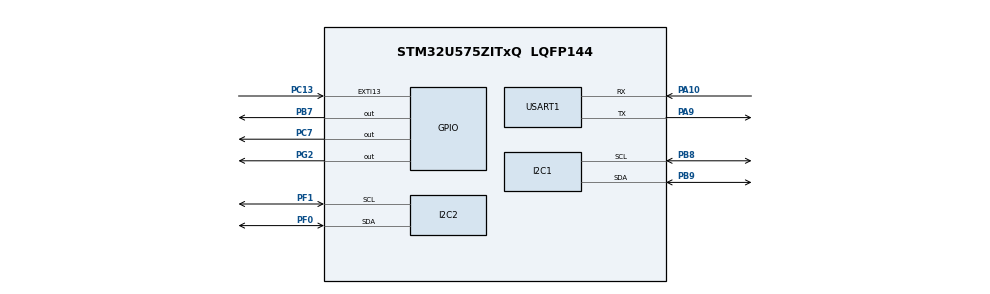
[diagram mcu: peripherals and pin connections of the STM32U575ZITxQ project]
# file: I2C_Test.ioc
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CORTEX_M33_NS.userName=CORTEX_M33
I2C1.Timing=0x00000E14
I2C2.Timing=0x00000E14
Mcu.Family=STM32U5
Mcu.Name=STM32U575ZITxQ
Mcu.Package=LQFP144
NUCLEO-U575ZI-Q.BUTTON=1
NUCLEO-U575ZI-Q.LD1=true
NUCLEO-U575ZI-Q.LD2=true
NUCLEO-U575ZI-Q.LD3=true
NUCLEO-U575ZI-Q.VCP=false
NVIC.EXTI13_IRQn=true\:0\:0\:false\:false\:true\:false\:true\:true
NVIC.I2C1_ER_IRQn=true\:0\:0\:false\:false\:true\:true\:true\:true
NVIC.I2C1_EV_IRQn=true\:0\:0\:false\:false\:true\:true\:true\:true
NVIC.PriorityGroup=NVIC_PRIORITYGROUP_3
NVIC.TIM17_IRQn=true\:7\:0\:false\:false\:true\:false\:true\:true
NVIC.TimeBase=TIM17_IRQn
NVIC.TimeBaseIP=TIM17
NVIC.USART1_IRQn=true\:0\:0\:false\:false\:true\:true\:true\:true
PA10.Mode=Asynchronous
PA10.Signal=USART1_RX
PA13\ (JTMS/SWDIO).Signal=DEBUG_JTMS-SWDIO
PA14\ (JTCK/SWCLK).Signal=DEBUG_JTCK-SWCLK
PA9.Mode=Asynchronous
PA9.Signal=USART1_TX
PB3\ (JTDO/TRACESWO).Signal=DEBUG_JTDO-SWO
PB7.Signal=GPIO_Output
PB8.Mode=I2C
PB8.Signal=I2C1_SCL
PB9.Mode=I2C
PB9.Signal=I2C1_SDA
PC13.Signal=GPXTI13
PC14-OSC32_IN\ (PC14).Signal=RCC_OSC32_IN
PC15-OSC32_OUT\ (PC15).Signal=RCC_OSC32_OUT
PC7.Signal=GPIO_Output
PF0.Mode=I2C
PF0.Signal=I2C2_SDA
PF1.Mode=I2C
PF1.Signal=I2C2_SCL
PG2.Signal=GPIO_Output
PWR.PowerMode=PWR_SMPS_SUPPLY
ProjectManager.HeapSize=0x200
ProjectManager.StackSize=0x400
ProjectManager.TargetToolchain=STM32CubeIDE
RCC.ADCFreq_Value=16000000
RCC.DACCLockSelectionVirtual=RCC_DAC1CLKSOURCE_LSI
RCC.EPOD_VALUE=4000000
RCC.HSE_VALUE=16000000
RCC.HSI48_VALUE=48000000
RCC.HSI_VALUE=16000000
RCC.I2C1CLockSelection=RCC_I2C1CLKSOURCE_SYSCLK
RCC.I2C2CLockSelection=RCC_I2C2CLKSOURCE_SYSCLK
RCC.LSE_VALUE=32768
RCC.LSIDIV_VALUE=32000
RCC.MSI_VALUE=4000000
RCC.USBFreq_Value=48000000
RCC.VCOOutputFreq_Value=516000000
USART1.VirtualMode-Asynchronous=VM_ASYNC
VP_ICACHE_VS_ENABLE_ICACHE_MEMORY.Mode=Memoryregions
VP_ICACHE_VS_ICACHE.Mode=DirectMappedCache
VP_LPBAMQUEUE_VS_QUEUE.Mode=QUEUEMODE
VP_LPBAM_VS_SIG1.Mode=SmartRun
VP_LPBAM_VS_SIG4.Mode=LPDMA1
VP_MEMORYMAP_VS_MEMORYMAP.Mode=CurAppReg
VP_NUCLEO-U575ZI-Q_VS_BSP_COMMON.Mode=COMMON
VP_PWR_VS_DBSignals.Mode=DisableDeadBatterySignals
VP_PWR_VS_LPOM.Mode=PowerOptimisation
VP_PWR_VS_SECSignals.Mode=Security/Privilege
VP_SYS_VS_tim17.Mode=TIM17
board=NUCLEO-U575ZI-Q

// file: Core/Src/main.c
/* USER CODE BEGIN Header */
/**
  ******************************************************************************
  * @file           : main.c
  * @brief          : Main program body
  ******************************************************************************
  * @attention
  *
  * Copyright (c) 2026 STMicroelectronics.
  * All rights reserved.
  *
  * This software is licensed under terms that can be found in the LICENSE file
  * in the root directory of this software component.
  * If no LICENSE file comes with this software, it is provided AS-IS.
  *
  ******************************************************************************
  */
/* USER CODE END Header */
#include "main.h"

/* USER CODE BEGIN Includes */

#include <math.h>
#include <stdarg.h>
#include <stdbool.h>
#include <stdint.h>
#include <stdio.h>
#include <stdlib.h>
#include <string.h>

#include "bno055.h"
#include "bno_config.h"
#include "stm32u5xx_hal.h"
#include "stm32u5xx_hal_gpio.h"
#include "stm32u5xx_hal_gpio_ex.h"

#include "stm32u5xx.h"
#include "msoe_stm_clock.h"
#include <stdio.h>

// Constants
#define TMP102_I2C_ADDR 0x48
#define I2C_TIMING_100KHZ 0x10C0ECFF
#define SINE_SAMPLES 32
#define SYSCLK_HZ 160000000
// Globals
uint16_t sine_table[SINE_SAMPLES] = {
2048, 2447, 2831, 3185, 3495, 3750, 3939, 4056,
 4095, 4056, 3939, 3750, 3495, 3185, 2831, 2447,
2048, 1648, 1264, 910, 600, 345, 156, 39,
0, 39, 156, 345, 600, 910, 1264, 1648
};
uint8_t sine_index = 0;
/* USER CODE END Includes */

I2C_HandleTypeDef hi2c1;
I2C_HandleTypeDef hi2c2;

UART_HandleTypeDef huart1;

/* USER CODE BEGIN PV */

bno055_t bno;
error_bno err;

/* USER CODE END PV */

void SystemClock_Config(void);
static void SystemPower_Config(void);
static void MX_GPIO_Init(void);
static void MX_ICACHE_Init(void);
static void MX_I2C1_Init(void);
static void MX_I2C2_Init(void);
static void MX_USART1_UART_Init(void);void I2C1_Init(void);
float TMP102_ReadTemp(void);
void DAC1_Init(void);
void TIM2_Init(uint32_t freq);

/* USER CODE BEGIN 0 */
static void print(const char *fmt, ...);

static void print(const char *fmt, ...) {
  static char buffer[256];
  va_list args;
  va_start(args, fmt);
  vsnprintf(buffer, sizeof(buffer), fmt, args);
  va_end(args);

  int len = strlen(buffer);
  HAL_UART_Transmit(&huart1, (uint8_t *)buffer, len, -1);
  return;
}
/* USER CODE END 0 */

int main(void)
{

  /* MCU Configuration--------------------------------------------------------*/

  /* Reset of all peripherals, Initializes the Flash interface and the Systick. */
  HAL_Init();

  /* Configure the System Power */
  SystemPower_Config();

  /* Configure the system clock */
  SystemClock_Config();

  /* Initialize all configured peripherals */
  MX_GPIO_Init();
  MX_ICACHE_Init();
  MX_I2C1_Init();
  MX_I2C2_Init();
  MX_USART1_UART_Init();

  /* Initialize leds */
  BSP_LED_Init(LED_GREEN);
  BSP_LED_Init(LED_BLUE);
  BSP_LED_Init(LED_RED);

  /* Initialize USER push-button, will be used to trigger an interrupt each time it's pressed.*/
  BSP_PB_Init(BUTTON_USER, BUTTON_MODE_EXTI);

  /* Infinite loop */
  /* USER CODE BEGIN WHILE */

// Function declarations

{
msoe_clk_setup(160);
I2C1_Init();
DAC1_Init();
TIM2_Init(100);
while (1)
{
float tempC = TMP102_ReadTemp();
// temp between 15–25°C
if (tempC < 15.0f) tempC = 15.0f;
if (tempC > 25.0f) tempC = 25.0f;
// Convert to f
float freqF = 100.0f + (tempC - 15.0f) * 200.0f;
uint32_t freq = (uint32_t)(freqF + 0.5f);
// Update ARR
uint32_t updateRate = freq * SINE_SAMPLES;
uint32_t arr = (SYSCLK_HZ / updateRate) - 1;
if (arr > 0xFFFF) arr = 0xFFFF;
TIM2->ARR = arr;
// Display on LCD

char buf[20];
int t10 = (int)(tempC * 10);
print("Temp = %d.%d C", t10 / 10, t10 % 10);
print("Freq = %4lu Hz", freq);
HAL_Delay(1000);
 }
return 0;
}
// LCD setup

}

// I2C setup
void I2C1_Init(void)
{
RCC->AHB2ENR1 |= (1 << 1); // GPIOB
RCC->APB1ENR1 |= (1 << 21); // I2C1
GPIOB->MODER &= ~((3 << (8 * 2)) | (3 << (9 * 2)));
GPIOB->MODER |= ((2 << (8 * 2)) | (2 << (9 * 2)));
GPIOB->OTYPER |= (1 << 8) | (1 << 9);
GPIOB->PUPDR &= ~((3 << (8 * 2)) | (3 << (9 * 2)));
GPIOB->PUPDR |= ((1 << (8 * 2)) | (1 << (9 * 2)));
GPIOB->AFR[1] &= ~(0xFF);
GPIOB->AFR[1] |= (0x44);
 I2C1->CR1 &= ~(1 << 0);
I2C1->TIMINGR = I2C_TIMING_100KHZ;
I2C1->CR1 |= (1 << 0); // Enable I2C
}
// TMP102
float TMP102_ReadTemp(void)
{
I2C1->CR2 = (TMP102_I2C_ADDR << 1) | (1 << 16) | (1 << 13); // 1 byte write, start
while (!(I2C1->ISR & (1 << 1))) {}
I2C1->TXDR = 0x00; // Temp
while (!(I2C1->ISR & (1 << 6))) {} // TC
I2C1->CR2 = (TMP102_I2C_ADDR << 1) | (1 << 10) | (2 << 16) | (1 << 25) | (1 << 13);
while (!(I2C1->ISR & (1 << 2))) {}
uint8_t msb = I2C1->RXDR;
while (!(I2C1->ISR & (1 << 2))) {}
uint8_t lsb = I2C1->RXDR;
while (!(I2C1->ISR & (1 << 5))) {}
I2C1->ICR |= (1 << 5);
int16_t raw = ((int16_t)msb << 4) | (lsb >> 4);
if (raw & 0x800) raw |= 0xF000;
return raw * 0.0625f;
}
// DAC setup (PA4 analog mode)
void DAC1_Init(void)
{
RCC->AHB2ENR1 |= (1 << 0);
RCC->AHB3ENR |= (1 << 6); // DAC1
GPIOA->MODER |= (3 << (4 * 2));
GPIOA->PUPDR &= ~(3 << (4 * 2));
DAC1->MCR |= (0b10 << 14);
DAC1->CR |= (1 << 0);
}
// Timer 2 setup (matches example style)
void TIM2_Init(uint32_t freq)
{
RCC->APB1ENR1 |= (1 << 0); // Enable TIM2
TIM2->CR1 = 0;
TIM2->PSC = 0;
TIM2->ARR = (SYSCLK_HZ / (freq * SINE_SAMPLES)) - 1;
if (TIM2->ARR > 0xFFFF) TIM2->ARR = 0xFFFF;
TIM2->CR1 |= (1 << 7);
TIM2->DIER |= (1 << 0);
TIM2->SR &= ~(1 << 0);
NVIC_EnableIRQ(TIM2_IRQn); //Enable TIM2 interrupt
 TIM2->CR1 |= (1 << 0);
}
// Timer 2 interrupt (style-matched)
void TIM2_IRQHandler(void)
{
TIM2->SR &= ~(1 << 0);
DAC1->DHR12R1 = sine_table[sine_index];
sine_index++;
if (sine_index >= SINE_SAMPLES)
sine_index = 0; // Loop
}

void SystemClock_Config(void)
{
  RCC_OscInitTypeDef RCC_OscInitStruct = {0};
  RCC_ClkInitTypeDef RCC_ClkInitStruct = {0};

  /** Configure the main internal regulator output voltage
  */
  if (HAL_PWREx_ControlVoltageScaling(PWR_REGULATOR_VOLTAGE_SCALE4) != HAL_OK)
  {
    Error_Handler();
  }

  /** Initializes the CPU, AHB and APB buses clocks
  */
  RCC_OscInitStruct.OscillatorType = RCC_OSCILLATORTYPE_MSI;
  RCC_OscInitStruct.MSIState = RCC_MSI_ON;
  RCC_OscInitStruct.MSICalibrationValue = RCC_MSICALIBRATION_DEFAULT;
  RCC_OscInitStruct.MSIClockRange = RCC_MSIRANGE_4;
  RCC_OscInitStruct.PLL.PLLState = RCC_PLL_NONE;
  if (HAL_RCC_OscConfig(&RCC_OscInitStruct) != HAL_OK)
  {
    Error_Handler();
  }

  /** Initializes the CPU, AHB and APB buses clocks
  */
  RCC_ClkInitStruct.ClockType = RCC_CLOCKTYPE_HCLK|RCC_CLOCKTYPE_SYSCLK
                              |RCC_CLOCKTYPE_PCLK1|RCC_CLOCKTYPE_PCLK2
                              |RCC_CLOCKTYPE_PCLK3;
  RCC_ClkInitStruct.SYSCLKSource = RCC_SYSCLKSOURCE_MSI;
  RCC_ClkInitStruct.AHBCLKDivider = RCC_SYSCLK_DIV1;
  RCC_ClkInitStruct.APB1CLKDivider = RCC_HCLK_DIV1;
  RCC_ClkInitStruct.APB2CLKDivider = RCC_HCLK_DIV1;
  RCC_ClkInitStruct.APB3CLKDivider = RCC_HCLK_DIV1;

  if (HAL_RCC_ClockConfig(&RCC_ClkInitStruct, FLASH_LATENCY_0) != HAL_OK)
  {
    Error_Handler();
  }
}

/**
  * @brief Power Configuration
  * @retval None
  */
static void SystemPower_Config(void)
{

  /*
   * Disable the internal Pull-Up in Dead Battery pins of UCPD peripheral
   */
  HAL_PWREx_DisableUCPDDeadBattery();

  /*
   * Switch to SMPS regulator instead of LDO
   */
  if (HAL_PWREx_ConfigSupply(PWR_SMPS_SUPPLY) != HAL_OK)
  {
    Error_Handler();
  }
}

static void MX_I2C1_Init(void)
{

  hi2c1.Instance = I2C1;
  hi2c1.Init.Timing = 0x00000E14;
  hi2c1.Init.OwnAddress1 = 0;
  hi2c1.Init.AddressingMode = I2C_ADDRESSINGMODE_7BIT;
  hi2c1.Init.DualAddressMode = I2C_DUALADDRESS_DISABLE;
  hi2c1.Init.OwnAddress2 = 0;
  hi2c1.Init.OwnAddress2Masks = I2C_OA2_NOMASK;
  hi2c1.Init.GeneralCallMode = I2C_GENERALCALL_DISABLE;
  hi2c1.Init.NoStretchMode = I2C_NOSTRETCH_DISABLE;
  if (HAL_I2C_Init(&hi2c1) != HAL_OK)
  {
    Error_Handler();
  }

  /** Configure Analogue filter
  */
  if (HAL_I2CEx_ConfigAnalogFilter(&hi2c1, I2C_ANALOGFILTER_ENABLE) != HAL_OK)
  {
    Error_Handler();
  }

  /** Configure Digital filter
  */
  if (HAL_I2CEx_ConfigDigitalFilter(&hi2c1, 0) != HAL_OK)
  {
    Error_Handler();
  }

}

static void MX_I2C2_Init(void)
{

  /* USER CODE BEGIN I2C2_Init 0 */
	__HAL_RCC_I2C1_CLK_ENABLE(); // ENABLE CLOCK
  /* USER CODE END I2C2_Init 0 */

  hi2c2.Instance = I2C2;
  hi2c2.Init.Timing = 0x00000E14;
  hi2c2.Init.OwnAddress1 = 0;
  hi2c2.Init.AddressingMode = I2C_ADDRESSINGMODE_7BIT;
  hi2c2.Init.DualAddressMode = I2C_DUALADDRESS_DISABLE;
  hi2c2.Init.OwnAddress2 = 0;
  hi2c2.Init.OwnAddress2Masks = I2C_OA2_NOMASK;
  hi2c2.Init.GeneralCallMode = I2C_GENERALCALL_DISABLE;
  hi2c2.Init.NoStretchMode = I2C_NOSTRETCH_DISABLE;
  if (HAL_I2C_Init(&hi2c2) != HAL_OK)
  {
    Error_Handler();
  }

  /** Configure Analogue filter
  */
  if (HAL_I2CEx_ConfigAnalogFilter(&hi2c2, I2C_ANALOGFILTER_ENABLE) != HAL_OK)
  {
    Error_Handler();
  }

  /** Configure Digital filter
  */
  if (HAL_I2CEx_ConfigDigitalFilter(&hi2c2, 0) != HAL_OK)
  {
    Error_Handler();
  }

}

static void MX_ICACHE_Init(void)
{

  /** Enable instruction cache in 1-way (direct mapped cache)
  */
  if (HAL_ICACHE_ConfigAssociativityMode(ICACHE_1WAY) != HAL_OK)
  {
    Error_Handler();
  }
  if (HAL_ICACHE_Enable() != HAL_OK)
  {
    Error_Handler();
  }

}

static void MX_USART1_UART_Init(void)
{

  huart1.Instance = USART1;
  huart1.Init.BaudRate = 115200;
  huart1.Init.WordLength = UART_WORDLENGTH_8B;
  huart1.Init.StopBits = UART_STOPBITS_1;
  huart1.Init.Parity = UART_PARITY_NONE;
  huart1.Init.Mode = UART_MODE_TX_RX;
  huart1.Init.HwFlowCtl = UART_HWCONTROL_NONE;
  huart1.Init.OverSampling = UART_OVERSAMPLING_16;
  huart1.Init.OneBitSampling = UART_ONE_BIT_SAMPLE_DISABLE;
  huart1.Init.ClockPrescaler = UART_PRESCALER_DIV1;
  huart1.AdvancedInit.AdvFeatureInit = UART_ADVFEATURE_NO_INIT;
  if (HAL_UART_Init(&huart1) != HAL_OK)
  {
    Error_Handler();
  }
  if (HAL_UARTEx_SetTxFifoThreshold(&huart1, UART_TXFIFO_THRESHOLD_1_8) != HAL_OK)
  {
    Error_Handler();
  }
  if (HAL_UARTEx_SetRxFifoThreshold(&huart1, UART_RXFIFO_THRESHOLD_1_8) != HAL_OK)
  {
    Error_Handler();
  }
  if (HAL_UARTEx_DisableFifoMode(&huart1) != HAL_OK)
  {
    Error_Handler();
  }

}

static void MX_GPIO_Init(void)
{

  /* GPIO Ports Clock Enable */
  __HAL_RCC_GPIOC_CLK_ENABLE();
  __HAL_RCC_GPIOF_CLK_ENABLE();
  __HAL_RCC_GPIOA_CLK_ENABLE();
  __HAL_RCC_GPIOB_CLK_ENABLE();

}

void HAL_TIM_PeriodElapsedCallback(TIM_HandleTypeDef *htim)
{
  if (htim->Instance == TIM17)
  {
    HAL_IncTick();
  }
}

void Error_Handler(void)
{
  __disable_irq();
  while (1)
  {
  }
}
